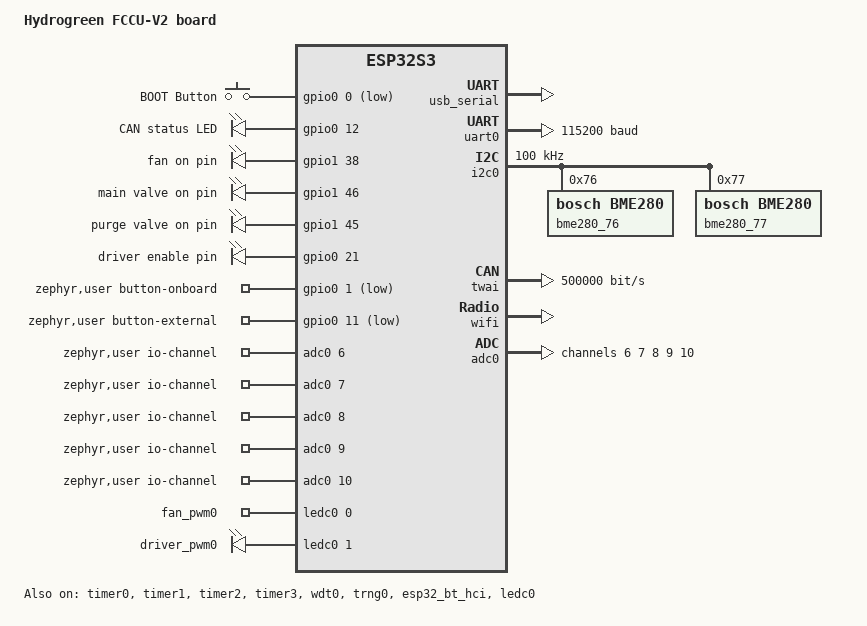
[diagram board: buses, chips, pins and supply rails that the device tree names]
/dts-v1/;

#include <espressif/esp32s3/esp32s3_wroom_n8.dtsi>
#include "fccu_v2-pinctrl.dtsi"
#include <espressif/partitions_0x0_amp.dtsi>


/ {
	model = "Hydrogreen FCCU-V2 board";
	compatible = "hydrogreen,fccu_v2";

	aliases {
		i2c-0 = &i2c0;
		watchdog0 = &wdt0;
	//	uart-0 = &uart0;
		can = &twai;
		fan-pin = &fan0;
		fan-pwm = &fan_pwm0;
		fan-tacho = &fan_tacho0;
		main-valve-pin = &main_valve0;
		purge-valve-pin = &purge_valve0;
		adc-1 = &adc0;
		can-status-led = &can_led0;
		counter0 = &counter0;
		counter1 = &counter1;
		counter2 = &counter2;
		counter3 = &counter3;
		driver-enable = &driver_enable0;
		driver-pwm = &driver_pwm0;
	};

	chosen {
		zephyr,sram = &sram1;
//		zephyr,console = &uart0;
//		zephyr,shell-uart = &uart0;
		zephyr,console = &usb_serial;
		zephyr,shell-uart = &usb_serial;
		zephyr,flash = &flash0;
		zephyr,code-partition = &slot0_partition;
		zephyr,bt-hci = &esp32_bt_hci;
		zephyr,canbus = &twai;
	};

	buttons {
		compatible = "gpio-keys";

		button0: button_0 {
			gpios = <&gpio0 0 (GPIO_PULL_UP | GPIO_ACTIVE_LOW)>;
			label = "BOOT Button";
		};
	};

	status_leds {
		compatible = "gpio-leds";

		can_led0: can_led_0 {
			gpios = <&gpio0 12 GPIO_ACTIVE_HIGH>; //oryginalny z pliku
//			gpios = <&gpio1 16 GPIO_ACTIVE_HIGH>; //esp32s3 super mini
			label = "CAN status LED";
		};
	};

	gpio_outputs {
		compatible = "gpio-leds";

		fan0: fan_0 {
			gpios = <&gpio1 38 GPIO_ACTIVE_HIGH>;
			label = "fan on pin";
		};
		main_valve0: main_valve_0 {
			gpios = <&gpio1 46 GPIO_ACTIVE_HIGH>;
			label = "main valve on pin";
		};
		purge_valve0: purge_valve_0 {
			gpios = <&gpio1 45 GPIO_ACTIVE_HIGH>;
			label = "purge valve on pin";
		};
		driver_enable0: driver_enable_0 {
			gpios = <&gpio0 21 GPIO_ACTIVE_HIGH>;
			label = "driver enable pin";
		};
	};

	gpio_inputs {
		fan_tacho0: fan_tacho_0 {
			gpios = <&gpio1 36 GPIO_ACTIVE_HIGH>;
			label = "fan tacho";
		};
	};

	zephyr,user {
		io-channels = <&adc0 6>, <&adc0 7>, <&adc0 8>, <&adc0 9>, <&adc0 10>;
		button-onboard-gpios  = <&gpio0 1  (GPIO_ACTIVE_LOW | GPIO_PULL_UP)>;
		button-external-gpios = <&gpio0 11 (GPIO_ACTIVE_LOW | GPIO_PULL_UP)>;
	};

	pwm_leds {
		compatible = "pwm-leds";

		fan_pwm0: fan_pwm_0 {
			pwms = <&ledc0 0 40000 0>;
		};
		driver_pwm0: driver_pwm_0 {
			pwms = <&ledc0 1 40000 0>;
		};
	};
};

&usb_serial {
	status = "okay";
};

&uart0 {
	status = "okay";
	current-speed = <115200>;
	pinctrl-0 = <&uart0_default>;
	pinctrl-names = "default";
};

&gpio0 {
	status = "okay";
};

&gpio1 {
	status = "okay";
};

&i2c0 {
	clock-frequency = <I2C_BITRATE_STANDARD>;
	pinctrl-0 = <&i2c0_default>;
	pinctrl-names = "default";
	status = "okay";

	bme280_76: bme280@76 {
		compatible = "bosch,bme280";
		reg = <0x76>;
		status = "okay";
	};

	bme280_77: bme280@77 {
		compatible = "bosch,bme280";
		reg = <0x77>;
		status = "okay";
	};

	ads1015_48: ads1015@48 {
		compatible = "ti,ads1015";
		reg = <0x48>;
		label = "ADS1015_48";
		#io-channel-cells = <1>;
		#address-cells = <1>;
		#size-cells = <0>;
		status = "disabled";
	};

	ads1015_49: ads1015@49 {
		compatible = "ti,ads1015";
		reg = <0x49>;
		label = "ADS1015_49";
		#io-channel-cells = <1>;
		#address-cells = <1>;
		#size-cells = <0>;
		status = "disabled";
	};
};

&i2c1 {
	clock-frequency = <I2C_BITRATE_STANDARD>;
	pinctrl-0 = <&i2c1_default>;
	pinctrl-names = "default";
	status = "disabled";
};

&i2s0 {
	pinctrl-0 = <&i2s0_default>;
	pinctrl-names = "default";
	status = "disabled";
};

&i2s1 {
	pinctrl-0 = <&i2s1_default>;
	pinctrl-names = "default";
	status = "disabled";
};

&spi2 {
	status = "disabled";
};

&twai {
	pinctrl-0 = <&twai_default>;
	pinctrl-names = "default";
	bitrate = <500000>;
	status = "okay";
};

&timer0 {
	status = "okay";
	counter0: counter {
		status = "okay";
	};
};

&timer1 {
	status = "okay";
	counter1: counter {
		status = "okay";
	};
};

&timer2 {
	status = "okay";
	counter2: counter {
		status = "okay";
	};
};

&timer3 {
	status = "okay";
	counter3: counter {
		status = "okay";
	};
};

&wdt0 {
	status = "okay";
};

&trng0 {
	status = "okay";
};

&esp32_bt_hci {
	status = "okay";
};

&wifi {
	status = "okay";
};

&adc0 {
	status = "okay";
	unit = <1>;
	#io-channel-cells = <1>;
	#address-cells = <1>;
	#size-cells = <0>;
	channel-count = <10>;

	channel@6 {
		reg = <6>;
		zephyr,gain = "ADC_GAIN_1_4";
		zephyr,reference = "ADC_REF_INTERNAL";
		zephyr,acquisition-time = <ADC_ACQ_TIME_DEFAULT>;
		zephyr,resolution = <12>;
	};
	channel@7 {
		reg = <7>;
		zephyr,gain = "ADC_GAIN_1_4";
		zephyr,reference = "ADC_REF_INTERNAL";
		zephyr,acquisition-time = <ADC_ACQ_TIME_DEFAULT>;
		zephyr,resolution = <12>;
	};
	channel@8 {
		reg = <8>;
		zephyr,gain = "ADC_GAIN_1_4";
		zephyr,reference = "ADC_REF_INTERNAL";
		zephyr,acquisition-time = <ADC_ACQ_TIME_DEFAULT>;
		zephyr,resolution = <12>;
	};
	channel@9 {
		reg = <9>;
		zephyr,gain = "ADC_GAIN_1_4";
		zephyr,reference = "ADC_REF_INTERNAL";
		zephyr,acquisition-time = <ADC_ACQ_TIME_DEFAULT>;
		zephyr,resolution = <12>;
	};
	channel@a {
		reg = <10>;
		zephyr,gain = "ADC_GAIN_1_4";
		zephyr,reference = "ADC_REF_INTERNAL";
		zephyr,acquisition-time = <ADC_ACQ_TIME_DEFAULT>;
		zephyr,resolution = <12>;
	};
};

&ledc0 {
	status = "okay";
	pinctrl-0 = <&ledc0_default>;
	pinctrl-names = "default";
	#address-cells = <1>;
	#size-cells = <0>;

	channel@0 {
		reg = <0x0>;
		timer = <0>;
	};
	channel@1 {
		reg = <0x1>;
		timer = <1>;
	};
};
